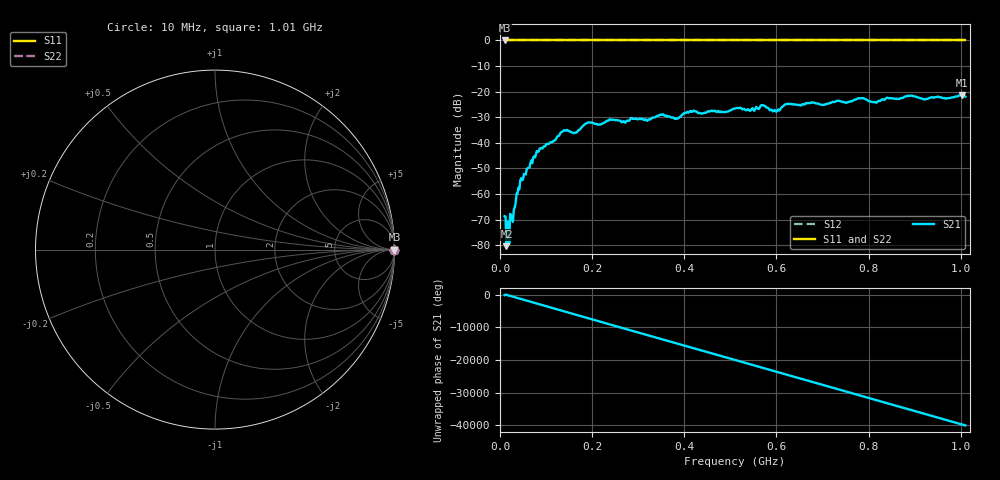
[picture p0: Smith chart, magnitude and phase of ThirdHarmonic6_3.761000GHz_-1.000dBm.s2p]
! 8/17/2025 12:55:25 PM
! C:\ANRITSUVNA\TEMP\TEMP.S2P
! CHANNEL.1
! TR.MEASUREMENT
! RAW.DATA
! RF.CORRECTION.OFF
! AVERAGING.OFF
! IF.BANDWIDTH: 5KHZ
! SWEEPTYPE:  FREQ.SWEEP(Linear)
! Reference Plane Port Info
! PORT:  PORT1  PORT2
! DISTANCE:  0  m  0  m
! TIME:  0  s  0  s
! PHASE.OFFSET:  0  deg.  0  deg.
! LOSS:  0  dB  0  dB
! REF.LOSS:  0  dB  0  dB
! REF.FREQ:  0  Hz  0  Hz
! Power Info
! POWER:  -20  dBm  -20  dBm
! EFF.POWER:  -20  dBm  -20  dBm
! SOURCE.ATTEN:  0  dB  0  dB
! TEST.ATTEN:  0  dB  0  dB
# GHZ S RI R 50.0
! FREQ.GHZ  S11RE  S11IM  S21RE  S21IM  S12RE  S12IM  S22RE  S22IM
!; PortSelection: Port_12
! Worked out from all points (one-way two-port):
!   501 points, 10 MHz to 1.01 GHz, reference 50 ohm
!   highest |S21| = -21.25 dB at 1.002 GHz (marker M1); lowest = -80.3 dB at 14 MHz (marker M2)
!   lowest |S11| = 0.0 dB at 10 MHz (marker M3)
!   |S11| at or under -10 dB: nowhere
!   |S22| runs from 0.0 to 0.0 dB; largest |S21 - S12| = 1.1
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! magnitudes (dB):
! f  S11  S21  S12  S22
! 10 MHz  0.0  -68.6  0.0  0.0
! 14 MHz  0.0  -80.3  0.0  0.0
! 18 MHz  0.0  -72.5  0.0  0.0
! 20 MHz  0.0  -79.5  0.0  0.0
! 24 MHz  0.0  -68.1  0.0  0.0
! 40 MHz  0.0  -57.5  0.0  0.0
! 48 MHz  0.0  -54.6  0.0  0.0
! 82 MHz  0.0  -43.5  0.0  0.0
! 136 MHz  0.0  -35.6  0.0  0.0
! 162 MHz  0.0  -36.1  0.0  0.0
! 178 MHz  0.0  -33.7  0.0  0.0
! 344 MHz  0.0  -29.5  0.0  0.0
! 384 MHz  0.0  -30.5  0.0  0.0
! 416 MHz  0.0  -27.9  0.0  0.0
! 510 MHz  0.0  -26.5  0.0  0.0
! 570 MHz  0.0  -25.3  0.0  0.0
! 596 MHz  0.0  -27.1  0.0  0.0
! 622 MHz  0.0  -24.9  0.0  0.0
! 678 MHz  0.0  -24.3  0.0  0.0
! 844 MHz  0.0  -22.6  0.0  0.0
! 1.002 GHz  0.0  -21.2  0.0  0.0
! 1.01 GHz  0.0  -22.0  0.0  0.0
